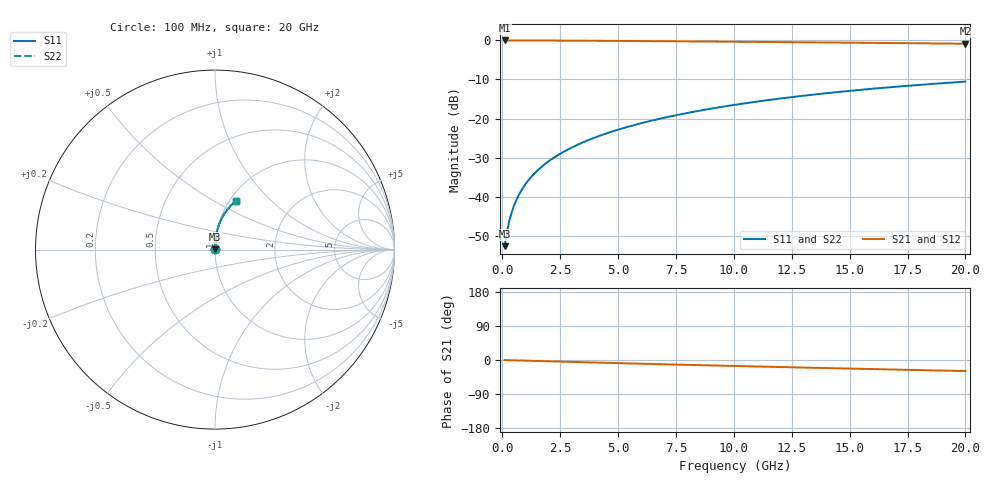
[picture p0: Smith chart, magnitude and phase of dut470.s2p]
! Touchstone file exported from HFSS 2024.1.0
!  File:  C:/UserFiles/LocalFiles/RDL_TSV_Batchsim/temp_RDL_bottom_470_1779685952.aedt
!  Generated:  01:15:12 PM May 25, 2026
!  Design:  RDL_bottom
!  Project:  temp_RDL_bottom_470_1779685952
!  Setup:  Setup1
!  Solution:  Sweep
! Variables:
!  dtsv = 10.80580581um
!  hbump = 3um
!  htsv = 97.65um
!  ldown = 388.25um
!  lrdl = 100um
!  p = 40
!  p1 = 50.42um
!  rhole = 1um
!  t = 450um
!  tdown = 4.21um
!  trdl = 3.915915916um
!  wdown = 20.45um
!  wrdl = 20um
# GHz S MA R 50.000000
! Terminal data exported
! Port[1] = RDL1_T1
! Port[2] = RDL1_T2
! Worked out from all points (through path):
!   200 points, 100 MHz to 20 GHz, reference 50 ohm
!   highest |S21| = -0.02 dB at 100 MHz (marker M1); lowest = -0.8 dB at 20 GHz (marker M2)
!   group delay of S21, straight-line fit = 4.03 ps
!   lowest |S11| = -52.6 dB at 100 MHz (marker M3), VSWR 1.00, Z = 50.2 + j0.153 ohm
!   |S11| at or under -10 dB: start of sweep to end of sweep
!   |S22| runs from -52.6 to -10.5 dB; largest |S21 - S12| = 2.7e-15
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0.1  0.002331 40.8  0.9982 -0.2  0.9982 -0.2  0.002331 40.8
! Gamma 0 0 0 0
! Port Impedance 50 0 50 0
0.2  0.00353 58.7  0.9981 -0.4  0.9981 -0.4  0.00353 58.7
0.3  0.004872 66.8  0.998 -0.5  0.998 -0.5  0.004872 66.8
0.4  0.006238 71.3  0.9979 -0.7  0.9979 -0.7  0.006238 71.3
0.5  0.007606 74.1  0.9978 -0.9  0.9978 -0.9  0.007606 74.1
0.6  0.008973 76.1  0.9977 -1.0  0.9977 -1.0  0.008972 76.1
0.8  0.01171 78.9  0.9975 -1.4  0.9975 -1.4  0.01171 78.9
1.1  0.01584 81.3  0.9972 -1.9  0.9972 -1.9  0.01583 81.3
1.5  0.02139 83.2  0.9966 -2.6  0.9966 -2.6  0.02139 83.2
1.8  0.02559 84.0  0.996 -3.1  0.996 -3.1  0.02559 84.0
2.1  0.02982 84.6  0.9954 -3.6  0.9954 -3.6  0.02982 84.6
2.7  0.03835 85.2  0.9938 -4.6  0.9938 -4.6  0.03835 85.2
3.5  0.0499 85.5  0.9914 -5.9  0.9914 -5.9  0.0499 85.5
4.2  0.06016 85.4  0.9888 -7.0  0.9888 -7.0  0.06016 85.4
5  0.07207 85.1  0.9856 -8.3  0.9856 -8.3  0.07207 85.1
5.9  0.08567 84.5  0.9817 -9.7  0.9817 -9.7  0.08567 84.5
6.8  0.09946 83.8  0.9775 -11.1  0.9775 -11.1  0.09947 83.8
8.4  0.1243 82.1  0.9696 -13.5  0.9696 -13.5  0.1243 82.1
10.1  0.1509 80.1  0.961 -15.9  0.961 -15.9  0.1509 80.1
13.4  0.202 75.7  0.9436 -20.5  0.9436 -20.5  0.202 75.7
16.7  0.251 71.0  0.9257 -25.0  0.9257 -25.0  0.251 71.0
20  0.297 66.5  0.9072 -29.2  0.9072 -29.2  0.297 66.5
